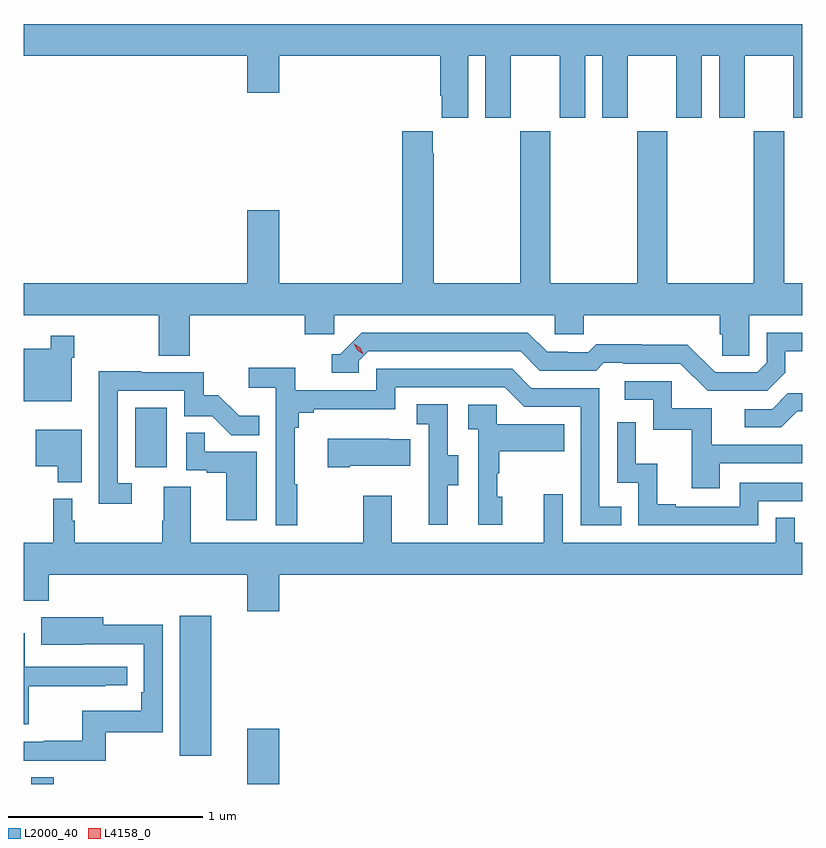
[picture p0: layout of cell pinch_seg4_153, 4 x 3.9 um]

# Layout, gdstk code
import gdstk
lib = gdstk.Library(unit=1e-6, precision=1e-09)
def R(c, l, rs):  # rectangles x0, y0, x1, y1
    for r in rs: c.add(gdstk.rectangle(r[:2], r[2:], *l))
def P(c, l, *ps):  # polygons
    for p in ps: c.add(gdstk.Polygon(p, *l))
L2000_40 = (2000, 40)
L4158_0 = (4158, 0)

pinch_seg4_153 = lib.new_cell('pinch_seg4_153')
R(pinch_seg4_153, L2000_40, [(1122.939,799.74,1123.055,799.775), (1124.048,799.74,1124.212,800.023), (1123.703,799.884,1123.864,800.605), (1123.472,801.366,1123.636,801.673)])
P(pinch_seg4_153, L2000_40, [(1125.184,803.48),(1125.272,803.48),(1125.272,803.163),(1125.403,803.163),(1125.403,803.48),(1125.653,803.48),(1125.653,803.163),(1125.784,803.163),(1125.784,803.48),(1125.872,803.48),(1125.872,803.163),(1126.003,803.163),(1126.003,803.48),(1126.253,803.48),(1126.253,803.163),(1126.384,803.163),(1126.384,803.48),(1126.472,803.48),(1126.472,803.163),(1126.603,803.163),(1126.603,803.48),(1126.853,803.48),(1126.853,803.163),(1126.9,803.163),(1126.9,803.644),(1122.9,803.644),(1122.9,803.48),(1124.048,803.48),(1124.048,803.292),(1124.212,803.292),(1124.212,803.48),(1125.041,803.48),(1125.041,803.275),(1125.047,803.275),(1125.047,803.163),(1125.184,803.163)],
  [(1124.846,803.092),(1124.846,802.312),(1124.212,802.312),(1124.212,802.687),(1124.048,802.687),(1124.048,802.312),(1122.9,802.312),(1122.9,802.148),(1123.594,802.148),(1123.594,801.94),(1123.754,801.94),(1123.754,802.148),(1124.345,802.148),(1124.345,802.05),(1124.496,802.05),(1124.496,802.148),(1125.627,802.148),(1125.627,802.05),(1125.777,802.05),(1125.777,802.148),(1126.475,802.148),(1126.475,802.05),(1126.489,802.05),(1126.489,801.94),(1126.626,801.94),(1126.626,802.148),(1126.9,802.148),(1126.9,802.312),(1126.806,802.312),(1126.806,803.092),(1126.651,803.092),(1126.651,802.312),(1126.206,802.312),(1126.206,803.092),(1126.051,803.092),(1126.051,802.312),(1125.606,802.312),(1125.606,803.092),(1125.451,803.092),(1125.451,802.312),(1125.006,802.312),(1125.006,802.979),(1125.001,802.979),(1125.001,803.092)],
  [(1126.813,801.853),(1126.813,801.963),(1126.9,801.963),(1126.9,802.059),(1126.716,802.059),(1126.716,801.903),(1126.668,801.855),(1126.452,801.855),(1126.31,801.997),(1126.074,801.997),(1126.074,802),(1125.841,802),(1125.799,801.957),(1125.696,801.957),(1125.696,801.96),(1125.589,801.96),(1125.49,802.059),(1124.637,802.059),(1124.526,801.948),(1124.483,801.948),(1124.483,801.852),(1124.622,801.852),(1124.622,801.915),(1124.67,801.963),(1125.453,801.963),(1125.552,801.864),(1125.841,801.864),(1125.88,801.903),(1125.979,801.903),(1125.979,801.9),(1126.272,801.9),(1126.413,801.759),(1126.719,801.759)],
  [(1123.146,801.929),(1123.159,801.929),(1123.159,802.042),(1123.038,802.042),(1123.038,801.976),(1122.9,801.976),(1122.9,801.707),(1123.146,801.707)],
  [(1124.305,801.281),(1124.293,801.281),(1124.293,801.569),(1124.312,801.569),(1124.312,801.646),(1124.389,801.646),(1124.389,801.665),(1124.808,801.665),(1124.808,801.777),(1125.372,801.777),(1125.471,801.678),(1125.762,801.678),(1125.762,801.069),(1125.971,801.069),(1125.971,801.165),(1125.858,801.165),(1125.858,801.774),(1125.508,801.774),(1125.409,801.873),(1124.712,801.873),(1124.712,801.762),(1124.294,801.762),(1124.294,801.878),(1124.055,801.878),(1124.055,801.776),(1124.196,801.776),(1124.196,801.069),(1124.305,801.069)],
  [(1123.456,801.285),(1123.383,801.285),(1123.383,801.759),(1123.725,801.759),(1123.725,801.63),(1123.869,801.63),(1123.967,801.532),(1124.111,801.532),(1124.111,801.631),(1124.007,801.631),(1123.9,801.738),(1123.824,801.738),(1123.824,801.855),(1123.505,801.855),(1123.505,801.86),(1123.287,801.86),(1123.287,801.18),(1123.456,801.18)],
  [(1126.477,801.387),(1126.9,801.387),(1126.9,801.483),(1126.435,801.483),(1126.435,801.669),(1126.23,801.669),(1126.23,801.81),(1125.987,801.81),(1125.987,801.714),(1126.134,801.714),(1126.134,801.561),(1126.333,801.561),(1126.333,801.258),(1126.477,801.258)],
  [(1126.873,801.654),(1126.9,801.654),(1126.9,801.746),(1126.826,801.746),(1126.746,801.666),(1126.605,801.666),(1126.605,801.573),(1126.792,801.573)],
  [(1125.079,801.274),(1125.133,801.274),(1125.133,801.429),(1125.078,801.429),(1125.078,801.692),(1124.919,801.692),(1124.919,801.589),(1124.982,801.589),(1124.982,801.285),(1124.981,801.285),(1124.981,801.072),(1125.079,801.072)],
  [(1125.358,801.216),(1125.333,801.216),(1125.333,801.335),(1125.343,801.335),(1125.343,801.449),(1125.677,801.449),(1125.677,801.589),(1125.33,801.589),(1125.33,801.687),(1125.183,801.687),(1125.183,801.563),(1125.234,801.563),(1125.234,801.072),(1125.358,801.072)],
  [(1126.674,801.192),(1126.9,801.192),(1126.9,801.288),(1126.578,801.288),(1126.578,801.165),(1126.249,801.165),(1126.249,801.178),(1126.154,801.178),(1126.154,801.386),(1126.044,801.386),(1126.044,801.598),(1125.948,801.598),(1125.948,801.288),(1126.056,801.288),(1126.056,801.069),(1126.674,801.069)],
  [(1123.198,801.559),(1122.962,801.559),(1122.962,801.371),(1123.076,801.371),(1123.076,801.29),(1123.198,801.29)],
  [(1124.098,801.447),(1123.829,801.447),(1123.829,801.545),(1123.734,801.545),(1123.734,801.351),(1123.841,801.351),(1123.841,801.339),(1123.94,801.339),(1123.94,801.096),(1124.098,801.096)],
  [(1124.575,801.374),(1124.885,801.374),(1124.885,801.511),(1124.777,801.511),(1124.777,801.514),(1124.463,801.514),(1124.463,801.367),(1124.575,801.367)],
  [(1124.048,800.628),(1124.212,800.628),(1124.212,800.816),(1126.9,800.816),(1126.9,800.98),(1126.86,800.98),(1126.86,801.107),(1126.764,801.107),(1126.764,800.98),(1125.669,800.98),(1125.669,801.229),(1125.572,801.229),(1125.572,800.98),(1124.791,800.98),(1124.791,801.22),(1124.644,801.22),(1124.644,800.98),(1123.759,800.98),(1123.759,801.266),(1123.619,801.266),(1123.619,801.092),(1123.612,801.092),(1123.612,800.98),(1123.162,800.98),(1123.162,801.092),(1123.15,801.092),(1123.15,801.205),(1123.052,801.205),(1123.052,800.98),(1122.9,800.98),(1122.9,800.681),(1123.028,800.681),(1123.028,800.816),(1124.048,800.816)],
  [(1123.321,800.007),(1123.614,800.007),(1123.614,800.558),(1123.309,800.558),(1123.309,800.596),(1122.991,800.596),(1122.991,800.456),(1123.205,800.456),(1123.205,800.457),(1123.518,800.457),(1123.518,800.212),(1123.505,800.212),(1123.505,800.116),(1123.2,800.116),(1123.2,799.961),(1123.003,799.961),(1123.003,799.956),(1122.9,799.956),(1122.9,799.86),(1123.321,799.86)],
  [(1122.926,800.242),(1123.319,800.242),(1123.319,800.247),(1123.432,800.247),(1123.432,800.343),(1122.906,800.343),(1122.906,800.515),(1122.9,800.515),(1122.9,800.046),(1122.926,800.046)])
P(pinch_seg4_153, L4158_0, [(1124.645,801.948),(1124.614,801.968),(1124.599,802.001),(1124.599,802.002),(1124.599,802.002),(1124.629,801.981),(1124.645,801.948),(1124.645,801.948)])

lib.write_gds('pinch_seg4_153.gds')
